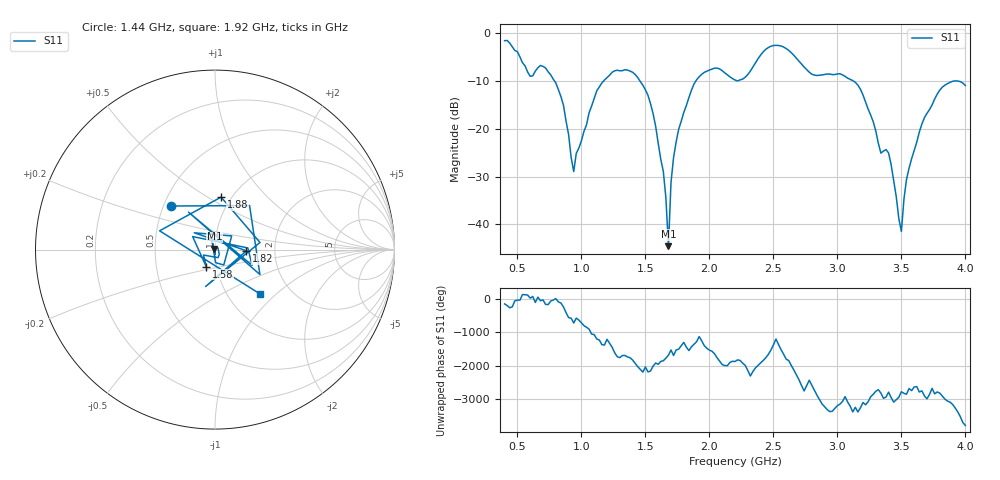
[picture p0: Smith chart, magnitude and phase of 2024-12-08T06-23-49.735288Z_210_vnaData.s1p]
!Created with skrf (http://scikit-rf.org).
# Hz S RI R 50.0
!freq ReS11 ImS11
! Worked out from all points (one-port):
!   181 points, 400 MHz to 4 GHz, reference 50 ohm
!   lowest |S11| = -44.5 dB at 1.68 GHz (marker M1), VSWR 1.01, Z = 49.7 + j0.52 ohm
!   |S11| at or under -10 dB: 790 MHz to 1.173 GHz (383.5 MHz wide, 39.1 % of centre); 1.457 GHz to 1.894 GHz (436.8 MHz wide, 26.1 % of centre); 3.125 GHz to 3.913 GHz (788.7 MHz wide, 22.4 % of centre) (the widest 3 of 4)
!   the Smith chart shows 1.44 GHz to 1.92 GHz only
!   S11 on the Smith chart (normalised r, x): 1.44 GHz: 0.55, +0.30; 1.58 GHz: 0.89, -0.17; 1.82 GHz: 1.42, -0.02; 1.88 GHz: 0.90, +0.57; 1.92 GHz: 1.41, -0.79
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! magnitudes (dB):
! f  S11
! 400 MHz  -1.6
! 600 MHz  -9.0
! 720 MHz  -7.3
! 860 MHz  -15.1
! 940 MHz  -28.9
! 1.12 GHz  -12.1
! 1.3 GHz  -7.9
! 1.44 GHz  -9.3
! 1.58 GHz  -19.5
! 1.64 GHz  -28.9
! 1.68 GHz  -44.5
! 1.7 GHz  -31.2
! 1.76 GHz  -20.1
! 1.82 GHz  -15.1
! 1.88 GHz  -10.6
! 1.92 GHz  -9.1
! 2.2 GHz  -9.8
! 2.48 GHz  -2.7
! 2.66 GHz  -4.6
! 3.1 GHz  -9.7
! 3.2 GHz  -12.9
! 3.34 GHz  -25.1
! 3.4 GHz  -25.1
! 3.5 GHz  -41.5
! 3.56 GHz  -28.2
! 3.66 GHz  -19.0
! 3.8 GHz  -11.9
! 4 GHz  -10.9
